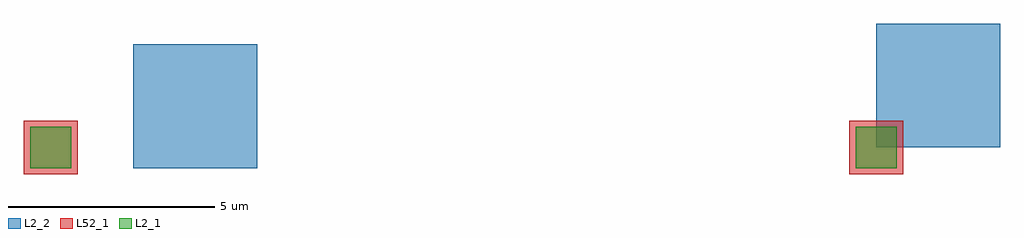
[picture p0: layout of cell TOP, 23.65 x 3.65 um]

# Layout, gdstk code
import gdstk
lib = gdstk.Library(unit=1e-6, precision=1e-09)
def R(c, l, rs):  # rectangles x0, y0, x1, y1
    for r in rs: c.add(gdstk.rectangle(r[:2], r[2:], *l))
L2_1 = (2, 1)
L2_2 = (2, 2)
L52_1 = (52, 1)

top = lib.new_cell('TOP')
R(top, L2_1, [(0,0,1,1), (20,0,21,1)])
R(top, L2_2, [(2.5,0,5.5,3), (20.5,0.5,23.5,3.5)])
R(top, L52_1, [(-0.15,-0.15,1.15,1.15), (19.85,-0.15,21.15,1.15)])

lib.write_gds('TOP.gds')
